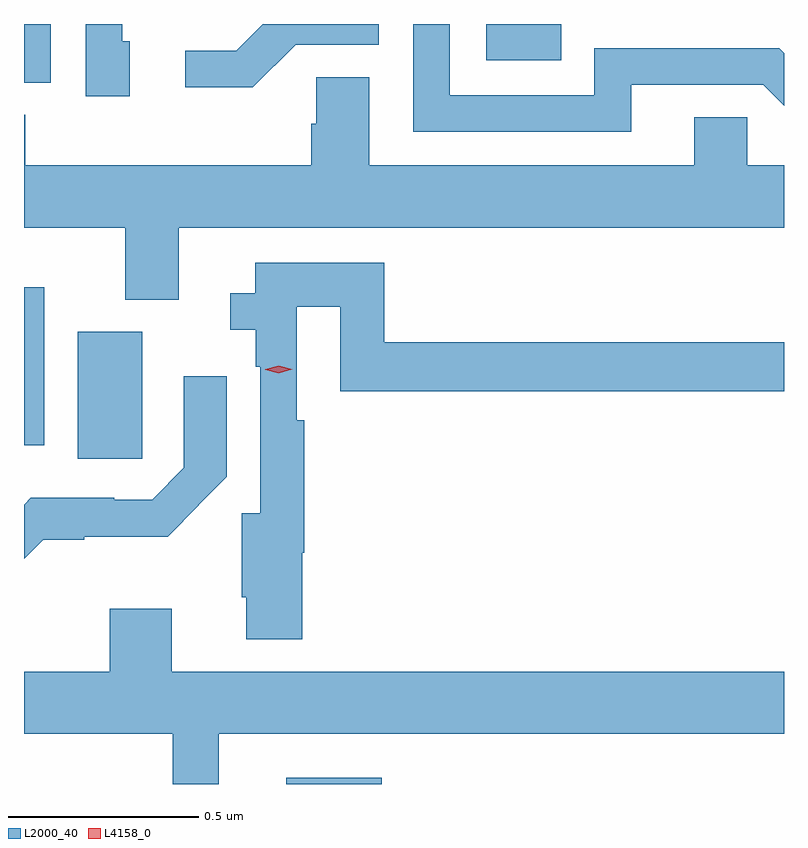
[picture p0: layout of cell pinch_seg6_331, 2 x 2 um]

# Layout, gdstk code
import gdstk
lib = gdstk.Library(unit=1e-6, precision=1e-09)
def R(c, l, rs):  # rectangles x0, y0, x1, y1
    for r in rs: c.add(gdstk.rectangle(r[:2], r[2:], *l))
def P(c, l, *ps):  # polygons
    for p in ps: c.add(gdstk.Polygon(p, *l))
L2000_40 = (2000, 40)
L4158_0 = (4158, 0)

pinch_seg6_331 = lib.new_cell('pinch_seg6_331')
R(pinch_seg6_331, L2000_40, [(666.953,988.496,667.204,988.513), (666.404,989.352,666.574,989.686), (666.263,989.388,666.316,989.803), (666.263,990.342,666.333,990.496), (667.479,990.401,667.677,990.496)])
P(pinch_seg6_331, L2000_40, [(666.978,990.441),(667.197,990.441),(667.197,990.496),(666.891,990.496),(666.821,990.426),(666.687,990.426),(666.687,990.329),(666.865,990.329)],
  [(667.861,990.336),(668.208,990.336),(668.263,990.281),(668.263,990.419),(668.25,990.432),(667.764,990.432),(667.764,990.309),(667.383,990.309),(667.383,990.496),(667.287,990.496),(667.287,990.213),(667.861,990.213)],
  [(666.541,990.45),(666.522,990.45),(666.522,990.496),(666.426,990.496),(666.426,990.306),(666.541,990.306)],
  [(666.67,989.96),(668.263,989.96),(668.263,990.124),(668.166,990.124),(668.166,990.251),(668.027,990.251),(668.027,990.124),(667.171,990.124),(667.171,990.356),(667.032,990.356),(667.032,990.233),(667.019,990.233),(667.019,990.124),(666.266,990.124),(666.266,990.257),(666.263,990.257),(666.263,989.96),(666.53,989.96),(666.53,989.771),(666.67,989.771)],
  [(666.995,989.105),(667.001,989.105),(667.001,989.453),(666.981,989.453),(666.981,989.752),(667.095,989.752),(667.095,989.53),(668.263,989.53),(668.263,989.659),(667.211,989.659),(667.211,989.868),(666.872,989.868),(666.872,989.788),(666.806,989.788),(666.806,989.691),(666.873,989.691),(666.873,989.594),(666.885,989.594),(666.885,989.208),(666.836,989.208),(666.836,988.987),(666.848,988.987),(666.848,988.877),(666.995,988.877)],
  [(666.313,989.139),(666.421,989.139),(666.421,989.147),(666.641,989.147),(666.723,989.229),(666.722,989.23),(666.796,989.304),(666.796,989.569),(666.684,989.569),(666.684,989.328),(666.6,989.244),(666.5,989.244),(666.5,989.249),(666.281,989.249),(666.263,989.231),(666.263,989.089)],
  [(666.775,988.628),(668.263,988.628),(668.263,988.792),(666.652,988.792),(666.652,988.957),(666.488,988.957),(666.488,988.792),(666.263,988.792),(666.263,988.628),(666.654,988.628),(666.654,988.496),(666.775,988.496)])
P(pinch_seg6_331, L4158_0, [(666.933,989.577),(666.898,989.586),(666.898,989.587),(666.898,989.587),(666.933,989.597),(666.969,989.588),(666.969,989.588),(666.969,989.588)])

lib.write_gds('pinch_seg6_331.gds')
